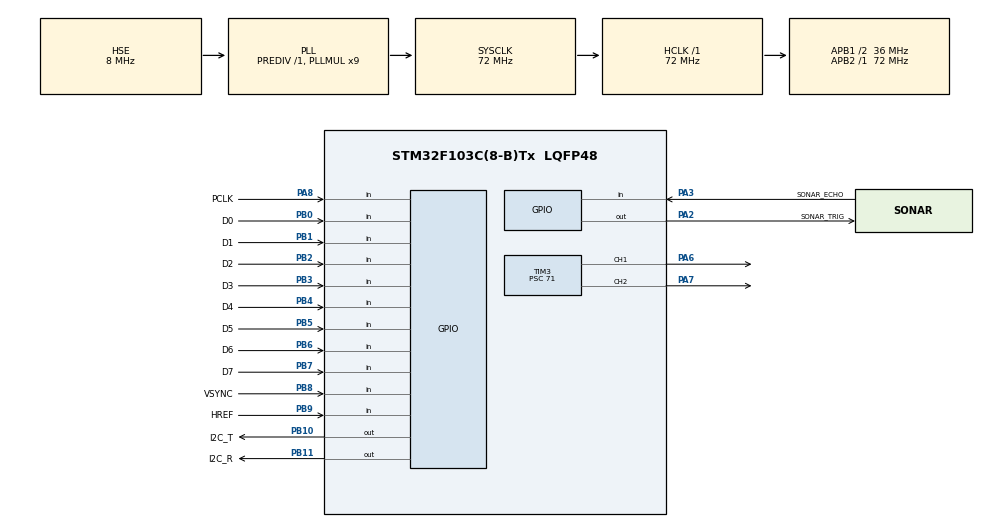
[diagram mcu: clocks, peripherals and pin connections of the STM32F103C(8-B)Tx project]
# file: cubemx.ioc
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Mcu.Family=STM32F1
Mcu.Name=STM32F103C(8-B)Tx
Mcu.Package=LQFP48
NVIC.PriorityGroup=NVIC_PRIORITYGROUP_4
PA13.Mode=Serial_Wire
PA13.Signal=SYS_JTMS-SWDIO
PA14.Mode=Serial_Wire
PA14.Signal=SYS_JTCK-SWCLK
PA2.GPIO_Label=SONAR_TRIG
PA2.GPIO_PuPd=GPIO_PULLDOWN
PA2.Signal=GPIO_Output
PA3.GPIO_Label=SONAR_ECHO
PA3.GPIO_PuPd=GPIO_NOPULL
PA3.Signal=GPIO_Input
PA6.Signal=S_TIM3_CH1
PA7.Signal=S_TIM3_CH2
PA8.GPIO_Label=PCLK
PA8.Signal=GPIO_Input
PB0.GPIO_Label=D0
PB0.Signal=GPIO_Input
PB1.GPIO_Label=D1
PB1.Signal=GPIO_Input
PB10.GPIO_Label=I2C_T
PB10.GPIO_ModeDefaultOutputPP=GPIO_MODE_OUTPUT_OD
PB10.GPIO_PuPd=GPIO_PULLUP
PB10.GPIO_Speed=GPIO_SPEED_FREQ_HIGH
PB10.PinState=GPIO_PIN_SET
PB10.Signal=GPIO_Output
PB11.GPIO_Label=I2C_R
PB11.GPIO_ModeDefaultOutputPP=GPIO_MODE_OUTPUT_OD
PB11.GPIO_PuPd=GPIO_PULLUP
PB11.GPIO_Speed=GPIO_SPEED_FREQ_HIGH
PB11.PinState=GPIO_PIN_SET
PB11.Signal=GPIO_Output
PB2.GPIO_Label=D2
PB2.Signal=GPIO_Input
PB3.GPIO_Label=D3
PB3.Signal=GPIO_Input
PB4.GPIO_Label=D4
PB4.Signal=GPIO_Input
PB5.GPIO_Label=D5
PB5.Signal=GPIO_Input
PB6.GPIO_Label=D6
PB6.Signal=GPIO_Input
PB7.GPIO_Label=D7
PB7.Signal=GPIO_Input
PB8.GPIO_Label=VSYNC
PB8.Signal=GPIO_Input
PB9.GPIO_Label=HREF
PB9.Signal=GPIO_Input
PD0-OSC_IN.Mode=HSE-External-Oscillator
PD0-OSC_IN.Signal=RCC_OSC_IN
PD1-OSC_OUT.Mode=HSE-External-Oscillator
PD1-OSC_OUT.Signal=RCC_OSC_OUT
ProjectManager.HeapSize=0x200
ProjectManager.StackSize=0x400
ProjectManager.TargetToolchain=CMake
RCC.AHBFreq_Value=72000000
RCC.APB1CLKDivider=RCC_HCLK_DIV2
RCC.APB1Freq_Value=36000000
RCC.APB1TimFreq_Value=72000000
RCC.APB2Freq_Value=72000000
RCC.APB2TimFreq_Value=72000000
RCC.HCLKFreq_Value=72000000
RCC.PLLMUL=RCC_PLL_MUL9
RCC.PLLSourceVirtual=RCC_PLLSOURCE_HSE
RCC.SYSCLKFreq_VALUE=72000000
RCC.SYSCLKSource=RCC_SYSCLKSOURCE_PLLCLK
RCC.USBFreq_Value=72000000
SH.S_TIM3_CH1.0=TIM3_CH1,PWM Generation1 CH1
SH.S_TIM3_CH2.0=TIM3_CH2,PWM Generation2 CH2
TIM3.Channel-PWM\ Generation1\ CH1=TIM_CHANNEL_1
TIM3.Channel-PWM\ Generation2\ CH2=TIM_CHANNEL_2
TIM3.Period=19999
TIM3.Prescaler=71
TIM3.Pulse-PWM\ Generation1\ CH1=1500
TIM3.Pulse-PWM\ Generation2\ CH2=1500
VP_TIM3_VS_ClockSourceINT.Mode=Internal
board=custom

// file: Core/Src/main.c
/* USER CODE BEGIN Header */
/**
  ******************************************************************************
  * @file           : main.c
  * @brief          : Main program body
  ******************************************************************************
  * @attention
  *
  * Copyright (c) 2025 STMicroelectronics.
  * All rights reserved.
  *
  * This software is licensed under terms that can be found in the LICENSE file
  * in the root directory of this software component.
  * If no LICENSE file comes with this software, it is provided AS-IS.
  *
  ******************************************************************************
  */
/* USER CODE END Header */
#include "main.h"
#include "tim.h"
#include "gpio.h"

/* USER CODE BEGIN Includes */

#include "servo.h"
#include "sonar.h"
#include "ov2640.h"
#include "vision.h"
#include <stdlib.h>
#include <stdio.h>

/* USER CODE END Includes */

void SystemClock_Config(void);

/* USER CODE BEGIN 0 */
  extern void initialise_monitor_handles(void);
/* USER CODE END 0 */

int main(void)
{

  /* MCU Configuration--------------------------------------------------------*/

  /* Reset of all peripherals, Initializes the Flash interface and the Systick. */
  HAL_Init();

  /* Configure the system clock */
  SystemClock_Config();

  /* Initialize all configured peripherals */
  MX_GPIO_Init();
  MX_TIM3_Init();
  /* USER CODE BEGIN 2 */

  printf("--- TEST MODE: Sonar Sensor ---\n");

    // Servo_Init();
  Sonar_Init();
  // OV2640_Init();
    //== 摄像头自检 ===
  if (OV2640_Init() == 0) {
    // 成功！舵机开心地点点头（上下动）
    Servo_Set_PWM(1, 1000); // 垂直舵机低头
    HAL_Delay(300);
    Servo_Set_PWM(1, 2000); // 抬头
    HAL_Delay(300);
    Servo_Set_PWM(1, 1500); // 回中
      } else {
    // 失败！舵机失望地摇摇头（左右动）
    Servo_Set_PWM(0, 1000); // 水平左
    HAL_Delay(300);
    Servo_Set_PWM(0, 2000); // 水平右
    HAL_Delay(300);
    Servo_Set_PWM(0, 1500); // 回中
}

  /* USER CODE END 2 */

  /* Infinite loop */
  /* USER CODE BEGIN WHILE */
  while (1)
  {
    // ▼▼▼▼▼ 这里是全新的测试逻辑 (覆盖原来的视觉代码) ▼▼▼▼▼

    // 1. 测距
    float dist = Sonar_Measure();

    // 2. 打印
    if (dist > 0) {
        printf("Distance: %.2f cm\n", dist);
    } else {
        printf("Error: No Echo\n");
    }

    // 3. 延时
    HAL_Delay(200);

    // ▲▲▲▲▲▲▲▲▲▲▲▲▲▲▲▲▲▲▲▲▲▲▲▲▲▲▲▲▲▲▲▲▲▲▲▲▲▲▲▲▲▲▲▲▲▲▲▲
  }
  /* USER CODE END WHILE */

}

void SystemClock_Config(void)
{
  RCC_OscInitTypeDef RCC_OscInitStruct = {0};
  RCC_ClkInitTypeDef RCC_ClkInitStruct = {0};

  /** Initializes the RCC Oscillators according to the specified parameters
  * in the RCC_OscInitTypeDef structure.
  */
  RCC_OscInitStruct.OscillatorType = RCC_OSCILLATORTYPE_HSE;
  RCC_OscInitStruct.HSEState = RCC_HSE_ON;
  RCC_OscInitStruct.HSEPredivValue = RCC_HSE_PREDIV_DIV1;
  RCC_OscInitStruct.HSIState = RCC_HSI_ON;
  RCC_OscInitStruct.PLL.PLLState = RCC_PLL_ON;
  RCC_OscInitStruct.PLL.PLLSource = RCC_PLLSOURCE_HSE;
  RCC_OscInitStruct.PLL.PLLMUL = RCC_PLL_MUL9;
  if (HAL_RCC_OscConfig(&RCC_OscInitStruct) != HAL_OK)
  {
    Error_Handler();
  }

  /** Initializes the CPU, AHB and APB buses clocks
  */
  RCC_ClkInitStruct.ClockType = RCC_CLOCKTYPE_HCLK|RCC_CLOCKTYPE_SYSCLK
                              |RCC_CLOCKTYPE_PCLK1|RCC_CLOCKTYPE_PCLK2;
  RCC_ClkInitStruct.SYSCLKSource = RCC_SYSCLKSOURCE_PLLCLK;
  RCC_ClkInitStruct.AHBCLKDivider = RCC_SYSCLK_DIV1;
  RCC_ClkInitStruct.APB1CLKDivider = RCC_HCLK_DIV2;
  RCC_ClkInitStruct.APB2CLKDivider = RCC_HCLK_DIV1;

  if (HAL_RCC_ClockConfig(&RCC_ClkInitStruct, FLASH_LATENCY_2) != HAL_OK)
  {
    Error_Handler();
  }
}

void Error_Handler(void)
{
  __disable_irq();
  while (1)
  {
  }
}
